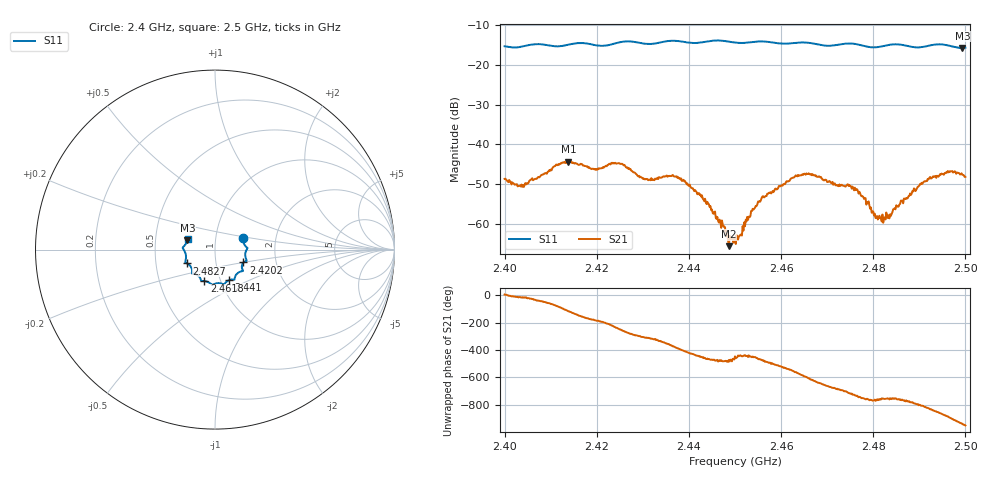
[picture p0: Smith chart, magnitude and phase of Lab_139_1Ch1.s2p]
# Hz S RI R 50
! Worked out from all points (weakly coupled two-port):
!   601 points, 2.4 GHz to 2.5 GHz, reference 50 ohm
!   highest |S21| = -44.30 dB at 2.4138 GHz (marker M1); lowest = -65.5 dB at 2.4487 GHz (marker M2)
!   lowest |S11| = -15.8 dB at 2.4993 GHz (marker M3), VSWR 1.39, Z = 36.5 + j3.81 ohm
!   |S11| at or under -10 dB: start of sweep to end of sweep
!   S12 and S22 are empty: the file has one direction only
!   S11 on the Smith chart (normalised r, x): 2.4 GHz: 1.36, +0.18; 2.4202 GHz: 1.36, -0.20; 2.441 GHz: 1.10, -0.39; 2.4618 GHz: 0.84, -0.30; 2.4827 GHz: 0.72, -0.11; 2.5 GHz: 0.73, +0.09
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2.4e9  0.1585 0.0628  0.00369 0.000319  0 0  0 0
2.403833e9  0.1679 0.0212  0.0028 -0.000913  0 0  0 0
2.413833e9  0.1716 -0.0477  -0.00279 -0.00542  0 0  0 0
2.416667e9  0.177 -0.0609  -0.00518 -0.00236  0 0  0 0
2.420167e9  0.1587 -0.0714  -0.00481 0.0005  0 0  0 0
2.425e9  0.1541 -0.1135  -0.00197 0.00542  0 0  0 0
2.430167e9  0.135 -0.1256  0.00223 0.00303  0 0  0 0
2.433333e9  0.1116 -0.1508  0.00322 0.00181  0 0  0 0
2.436833e9  0.108 -0.1679  0.00381 -0.00115  0 0  0 0
2.441e9  0.0787 -0.1699  0.00088 -0.00256  0 0  0 0
2.448667e9  0.0397 -0.1906  -0.000209 -0.000489  0 0  0 0
2.45e9  0.0288 -0.1875  3.71e-05 -0.000628  0 0  0 0
2.4555e9  -0.0145 -0.1956  -0.000644 -0.00181  0 0  0 0
2.461833e9  -0.059 -0.1754  -0.00349 0.000244  0 0  0 0
2.466667e9  -0.0787 -0.1683  -0.000826 0.00403  0 0  0 0
2.476e9  -0.1275 -0.1304  0.00282 -0.000582  0 0  0 0
2.480667e9  -0.1395 -0.089  0.000821 -0.000896  0 0  0 0
2.482667e9  -0.1559 -0.0772  0.000921 -0.000689  0 0  0 0
2.483333e9  -0.1602 -0.0752  0.00107 -0.000744  0 0  0 0
2.492333e9  -0.1747 0.000677  -0.00153 -0.0036  0 0  0 0
2.499333e9  -0.154 0.0508  -0.00324 0.00263  0 0  0 0
2.5e9  -0.1522 0.0605  -0.00246 0.00307  0 0  0 0
